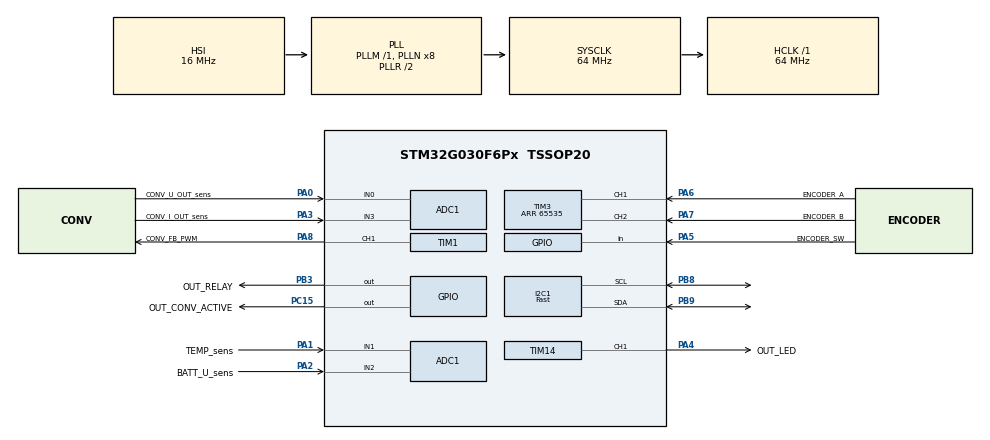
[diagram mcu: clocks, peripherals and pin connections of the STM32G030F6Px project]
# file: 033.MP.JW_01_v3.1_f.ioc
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ADC1.Channel-0\#ChannelRegularConversion=ADC_CHANNEL_0
ADC1.Channel-1\#ChannelRegularConversion=ADC_CHANNEL_1
ADC1.Channel-2\#ChannelRegularConversion=ADC_CHANNEL_2
ADC1.Channel-3\#ChannelRegularConversion=ADC_CHANNEL_3
ADC1.ClockPrescaler=ADC_CLOCK_SYNC_PCLK_DIV2
ADC1.ContinuousConvMode=DISABLE
ADC1.DMAContinuousRequests=DISABLE
ADC1.EOCSelection=ADC_EOC_SEQ_CONV
ADC1.NbrOfConversion=4
ADC1.NbrOfConversionFlag=1
ADC1.Overrun=ADC_OVR_DATA_PRESERVED
ADC1.OversamplingMode=ENABLE
ADC1.Rank-0\#ChannelRegularConversion=1
ADC1.Rank-1\#ChannelRegularConversion=2
ADC1.Rank-2\#ChannelRegularConversion=3
ADC1.Rank-3\#ChannelRegularConversion=4
ADC1.Ratio=ADC_OVERSAMPLING_RATIO_256
ADC1.RightBitShift=ADC_RIGHTBITSHIFT_8
ADC1.SamplingTime-0\#ChannelRegularConversion=ADC_SAMPLINGTIME_COMMON_1
ADC1.SamplingTime-1\#ChannelRegularConversion=ADC_SAMPLINGTIME_COMMON_2
ADC1.SamplingTime-2\#ChannelRegularConversion=ADC_SAMPLINGTIME_COMMON_2
ADC1.SamplingTime-3\#ChannelRegularConversion=ADC_SAMPLINGTIME_COMMON_1
ADC1.SamplingTimeCommon1=ADC_SAMPLETIME_19CYCLES_5
ADC1.SamplingTimeCommon2=ADC_SAMPLETIME_19CYCLES_5
ADC1.SelectedChannel=ADC_CHANNEL_0|ADC_CHANNEL_1|ADC_CHANNEL_2|ADC_CHANNEL_3
ADC1.TriggerFrequencyMode=ADC_TRIGGER_FREQ_LOW
ADC1.TriggeredMode=ADC_TRIGGEREDMODE_SINGLE_TRIGGER
ADC1.master=1
Dma.ADC1.0.Direction=DMA_PERIPH_TO_MEMORY
Dma.ADC1.0.EventEnable=DISABLE
Dma.ADC1.0.Instance=DMA1_Channel1
Dma.ADC1.0.MemDataAlignment=DMA_MDATAALIGN_HALFWORD
Dma.ADC1.0.MemInc=DMA_MINC_ENABLE
Dma.ADC1.0.Mode=DMA_NORMAL
Dma.ADC1.0.PeriphDataAlignment=DMA_PDATAALIGN_HALFWORD
Dma.ADC1.0.PeriphInc=DMA_PINC_DISABLE
Dma.ADC1.0.Polarity=HAL_DMAMUX_REQ_GEN_RISING
Dma.ADC1.0.Priority=DMA_PRIORITY_MEDIUM
Dma.ADC1.0.RequestNumber=1
Dma.ADC1.0.SignalID=NONE
Dma.ADC1.0.SyncEnable=DISABLE
Dma.ADC1.0.SyncPolarity=HAL_DMAMUX_SYNC_NO_EVENT
Dma.ADC1.0.SyncRequestNumber=1
Dma.ADC1.0.SyncSignalID=NONE
Dma.Request0=ADC1
I2C1.CustomTiming=Disabled
I2C1.I2C_Speed_Mode=I2C_Fast
I2C1.Timing=0x00C12166
Mcu.Family=STM32G0
Mcu.Name=STM32G030F6Px
Mcu.Package=TSSOP20
NVIC.DMA1_Channel1_IRQn=true\:0\:0\:false\:false\:true\:false\:true\:true
NVIC.TIM3_IRQn=true\:0\:0\:false\:false\:true\:true\:true\:true
PA0.GPIO_Label=CONV_U_OUT_sens
PA0.Mode=IN0
PA0.Signal=ADC1_IN0
PA1.GPIO_Label=TEMP_sens
PA1.Mode=IN1
PA1.Signal=ADC1_IN1
PA14-BOOT0__PA15.StandardMode=true
PA2.GPIO_Label=BATT_U_sens
PA2.Mode=IN2
PA2.Signal=ADC1_IN2
PA3.GPIO_Label=CONV_I_OUT_sens
PA3.Mode=IN3
PA3.Signal=ADC1_IN3
PA4.GPIO_Label=OUT_LED
PA4.GPIO_PuPd=GPIO_PULLDOWN
PA4.GPIO_Speed=GPIO_SPEED_FREQ_VERY_HIGH
PA4.Signal=S_TIM14_CH1
PA5.GPIO_Label=ENCODER_SW
PA5.GPIO_PuPd=GPIO_PULLUP
PA5.Signal=GPIO_Input
PA6.GPIO_Label=ENCODER_A
PA6.GPIO_PuPd=GPIO_PULLUP
PA6.Signal=S_TIM3_CH1
PA7.GPIO_Label=ENCODER_B
PA7.GPIO_PuPd=GPIO_PULLUP
PA7.Signal=S_TIM3_CH2
PA8.GPIO_Label=CONV_FB_PWM
PA8.GPIO_PuPd=GPIO_PULLUP
PA8.Signal=S_TIM1_CH1
PB0__PB1__PB2__PA8.StandardMode=true
PB3.GPIO_Label=OUT_RELAY
PB3.GPIO_PuPd=GPIO_PULLDOWN
PB3.Signal=GPIO_Output
PB3__PB4__PB5__PB6.StandardMode=true
PB7__PB8.StandardMode=true
PB8.GPIO_Pu=GPIO_NOPULL
PB8.Mode=I2C
PB8.Signal=I2C1_SCL
PB9.GPIO_Pu=GPIO_NOPULL
PB9.Mode=I2C
PB9.Signal=I2C1_SDA
PC14-OSC32_IN\ (PC14)__PB9.StandardMode=true
PC15-OSC32_OUT\ (PC15).GPIO_Label=OUT_CONV_ACTIVE
PC15-OSC32_OUT\ (PC15).GPIO_PuPd=GPIO_PULLDOWN
PC15-OSC32_OUT\ (PC15).Signal=GPIO_Output
ProjectManager.HeapSize=0x200
ProjectManager.StackSize=0x400
ProjectManager.TargetToolchain=STM32CubeIDE
RCC.ADCCLockSelection=RCC_ADCCLKSOURCE_PLLADC
RCC.ADCFreq_Value=16000000
RCC.AHBFreq_Value=64000000
RCC.CortexFreq_Value=64000000
RCC.EXTERNAL_CLOCK_VALUE=12288000
RCC.HCLKFreq_Value=64000000
RCC.HSE_VALUE=8000000
RCC.HSI_VALUE=16000000
RCC.LSE_VALUE=32768
RCC.PLLP=RCC_PLLP_DIV8
RCC.SYSCLKFreq_VALUE=64000000
RCC.SYSCLKSource=RCC_SYSCLKSOURCE_PLLCLK
RCC.VCOOutputFreq_Value=128000000
SH.S_TIM14_CH1.0=TIM14_CH1,PWM Generation1 CH1
SH.S_TIM1_CH1.0=TIM1_CH1,PWM Generation1 CH1
SH.S_TIM3_CH1.0=TIM3_CH1,Encoder_Interface
SH.S_TIM3_CH2.0=TIM3_CH2,Encoder_Interface
TIM1.AutoReloadPreload=TIM_AUTORELOAD_PRELOAD_ENABLE
TIM1.Channel-PWM\ Generation1\ CH1=TIM_CHANNEL_1
TIM1.Period=1999
TIM14.AutoReloadPreload=TIM_AUTORELOAD_PRELOAD_ENABLE
TIM14.Channel=TIM_CHANNEL_1
TIM14.ClockDivision=TIM_CLOCKDIVISION_DIV1
TIM14.Period=1999
TIM14.Prescaler=0
TIM3.EncoderMode=TIM_ENCODERMODE_TI1
TIM3.IC1Filter=15
TIM3.IC1Polarity=TIM_ICPOLARITY_FALLING
TIM3.IC2Filter=15
TIM3.IC2Polarity=TIM_ICPOLARITY_FALLING
TIM3.Period=65535
VP_TIM14_VS_ClockSourceINT.Mode=Enable_Timer
VP_TIM1_VS_ClockSourceINT.Mode=Internal
board=custom

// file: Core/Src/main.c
/* USER CODE BEGIN Header */
/**
 ******************************************************************************
 * @file           : main.c
 * @brief          : Main program body
 ******************************************************************************
 * @attention
 *
 * Copyright (c) 2024 STMicroelectronics.
 * All rights reserved.
 *
 * This software is licensed under terms that can be found in the LICENSE file
 * in the root directory of this software component.
 * If no LICENSE file comes with this software, it is provided AS-IS.
 *
 ******************************************************************************
 */
/* USER CODE END Header */
#include "main.h"
#include "adc.h"
#include "dma.h"
#include "i2c.h"
#include "tim.h"
#include "gpio.h"

/* USER CODE BEGIN Includes */
//#include "Anglas_INA226.h"
#include "fonts.h"
#include "ssd1306.h"
#include "ftoa.h"
#include "stdlib.h"
#include "math.h"
#include "stdio.h"

/* USER CODE END Includes */

/* USER CODE BEGIN PD */
#define mes_size 4	//adc buffer
#define conv_pwm_arr 2000	//max pwm value
#define soldering_error_value 0	//PTC error value

//variable to control
uint8_t screen_indicator = 0;
uint8_t main_screen = 0;
uint8_t main_screen_old = 0;
int16_t encoder_rot = -1; //variable to use encoder
int16_t encoder_rot_prev = 0; //variable to use encoder

//solder station
uint16_t set_temp = 365;
uint16_t mes_temp = 0;

//converter
int16_t pwm = 0;	//pwm
float set_voltage = 5.0f;	//in V
int16_t set_current = 1000;	//in mA
float mes_voltage = 0.0f;	//in V
int16_t mes_current = 0;	//in mA
int16_t mes_power =0;	//in W

//adc
volatile uint8_t adc_ready =0;	//interupt adc flag
float batt_voltage = 0.0f;	//batt voltage value
uint8_t mode_CC =0;	//CC mode flag
uint16_t adc_raw_value[mes_size]; //raw ADC
uint8_t work_mode =0;	// work mode flag

/* USER CODE END PD */

/* USER CODE BEGIN PV */
//map int
long map(long x, long in_min, long in_max, long out_min, long out_max)
    {
    /*
     * map function or linear transformation
     * x - value to scale
     * in_min - min input value to be scaled
     * in_max - max input value to be scaled
     * out_min - min output value after scaled
     * out_max - max output value after scaled
     */
    return (x - in_min) * (out_max - out_min) / (in_max - in_min) + out_min;
    }
//map float
float map_f(float x, float in_min, float in_max, float out_min, float out_max)
    {
    /*
     *  map function or linear transformation
     * x - value to scale
     * in_min - min input value to be scaled
     * in_max - max input value to be scaled
     * out_min - min output value after scaled
     * out_max - max output value after scaled
     */
    return (x - in_min) * (out_max - out_min) / (in_max - in_min) + out_min;
    }

//constrain int
int64_t constrain(int64_t x, int64_t a, int64_t b)
    {
    /*
     * function to limit the input values
     * x - input value
     * a - lowest value of the range
     * b - highest value of the range
     */

    if (x < a)
	{
	return a;
	}
    else if (x > b)
	{
	return b;
	}
    else
	return x;
    }

//constrain float
float constrain_f(float x, float a, float b)
    {
    /*
     * function to limit the input values
     * x - input value
     * a - lowest value of the range
     * b - highest value of the range
     */

    if (x < a)
	{
	return a;
	}
    else if (x > b)
	{
	return b;
	}
    else
	return x;
    }

//function to scrolling values int
int32_t scroll_value(int64_t input, int64_t min, int64_t max)
    {
    /*
     * function to scrolling the input values
     * input - input value
     * min - lowest value of the range
     * max - highest value of the range
     */

    if (input > max)
	{
	input = min;
	}
    else if (input < min)
	{
	input = max;
	}
    else
	{

	}
    return input;
    }

//function to scrolling values float
float scroll_value_f(float input, float min, float max)
    {
    /*
     * function to scrolling the input values
     * input - input value
     * min - lowest value of the range
     * max - highest value of the range
     */

    if (input > max)
	{
	input = min;
	}
    else if (input < min)
	{
	input = max;
	}
    else
	{

	}
    return input;
    }

//randomize a number from the range
int64_t random_number(int64_t min_rand, int64_t max_rand)
    {
    /*
     * function to randomize a number from the range
     * min_rand - lowest value of the range
     * max_rand - highest value of the range
     */

    int32_t tmp;
    if (max_rand >= min_rand)
	{
	max_rand -= min_rand;
	}
    else
	{
	tmp = min_rand - max_rand;
	min_rand = max_rand;
	max_rand = tmp;
	}
    return max_rand ? (rand() % max_rand + min_rand) : min_rand;
    }

// ADC calculation
void adc_read(void) {

	float U_reff = 3.3f; // ADC reference voltage
	uint16_t adc_read_value[mes_size]; // raw ADC readings
	float adc_ready_value[mes_size];   // converted ADC readings to voltage

	uint16_t T_solder = 0; // soldering temperature
	float R_1 = 465.0f;    // resistor value for voltage divider
	float R_PTC = 0.0f;    // PTC resistor value

	// --- FILTERING PARAMETERS ---
	// Increase alpha_* → faster response, less smoothing.
	// Decrease alpha_* → slower response, more stable value.
	// Adjust max_delta_* to match expected system dynamics.
	static float U_conv_filtered = 0.0f;  // filtered converter voltage
//	static float I_conv_filtered = 0.0f; // filtered converter current (disabled)
	const float alpha_U = 0.8f;           // smoothing factor for voltage
//	const float alpha_I = 0.75f;         // smoothing factor for current
	const float max_delta_U = 2.5f;       // max voltage change per sample (V)
//	const float max_delta_I = 100.0f;    // max current change per sample (mA)

	// --- RAW DATA CONVERSION ---
	for (uint8_t i = 0; i < mes_size; i++) {
		adc_read_value[i] = adc_raw_value[i]; // get raw ADC value
		adc_ready_value[i] = (U_reff / 4095.0f) * adc_read_value[i]; // convert ADC value to voltage
	}

	// --- CONVERTER OUTPUT VOLTAGE ---
	float U_conv_raw = adc_ready_value[0] * 11.0f; // raw converter voltage before filtering
	float deltaU = U_conv_raw - U_conv_filtered;   // voltage difference

	// outlier clipping (reject extreme changes)
	if (deltaU > max_delta_U) deltaU = max_delta_U;
	if (deltaU < -max_delta_U) deltaU = -max_delta_U;

	// IIR filter for voltage
	U_conv_filtered += alpha_U * deltaU;
	mes_voltage = U_conv_filtered;
//	mes_voltage = U_conv_raw; // unfiltered version
	mes_voltage = (-0.0003f * mes_voltage * mes_voltage) + (0.9804f * mes_voltage) + 0.0255f; // calibration correction

	// --- PTC TEMPERATURE MEASUREMENT ---
	if (adc_ready_value[1] < 3.2f) {
		R_PTC = -((R_1 * adc_ready_value[1]) / (adc_ready_value[1] - U_reff)); // calculate PTC resistance
		T_solder = (uint16_t) map_f(R_PTC, 50.8f, 110.0f, 22.0f, 400.0f);      // map resistance to temperature
		T_solder = T_solder * 0.50f;                                           // scaling adjustment
	} else {
		T_solder = soldering_error_value; // error value when voltage is too high
	}
	mes_temp = (int16_t)T_solder; // store measured temperature

	// --- BATTERY VOLTAGE ---
	batt_voltage = (adc_ready_value[2] * 11.0f) - 0.1f; // battery voltage after scaling and offset
//	soc_batt = (uint8_t) map_f(U_soc_batt, 18.0f, 21.0f, 0.0f, 100.0f); // state of charge (optional)
//	soc_batt = constrain(soc_batt, 0, 100);

	// --- CURRENT MEASUREMENT ---
	#define INA169_RL 10000  // load resistor of INA169
	#define INA169_RS 0.1    // shunt resistor of INA169

	float I_conv_raw = ((adc_ready_value[3] * 1000.0f) / (INA169_RL * INA169_RS)) * 1000.0f; // current [mA]
	I_conv_raw = constrain_f(I_conv_raw, 0.0f, 5000.0f); // limit current range
//	I_conv_out = roundf(I_conv_raw); // optional rounding

//	float deltaI = I_conv_raw - I_conv_filtered; // current delta
//
//	// reject outliers
//	if (deltaI > max_delta_I) deltaI = max_delta_I;
//	if (deltaI < -max_delta_I) deltaI = -max_delta_I;
//
//	// IIR filter for current
//	I_conv_filtered += alpha_I * deltaI;
//	mes_current = (int16_t)I_conv_filtered; // filtered current
	mes_current = (int16_t)I_conv_raw; // unfiltered current

	// protection against false readings
	if((work_mode == 0) && (mes_current <= 100))
	{
		mes_current = 0;
	}

	// --- POWER CALCULATION ---
	mes_power =  (int16_t)((mes_current / 1000.0f) * mes_voltage); // power = current * voltage
}

//function to scrolling values from encoder to int
int32_t encoder_managment(int32_t input, int32_t min, int32_t max, int32_t step,
	uint8_t mode)
    {
    /*
     * function scroll values from encoder on the screen depending on the specified parameters
     * input - value to scroll
     * min - min scroll value
     * max - max scroll value
     * step - step to scroll
     * mode - if 1 is set the maximum value is not scrolled to the minimum value , if 0 after passing the maximum value returns the minimum value
     */

    encoder_rot = ( __HAL_TIM_GET_COUNTER(&htim3) >> 1); //encoder counter

    if (encoder_rot_prev > encoder_rot)
	{
	input = input - step;
	encoder_rot_prev = encoder_rot;
	}
    else if (encoder_rot_prev < encoder_rot)
	{
	input = input + step;
	encoder_rot_prev = encoder_rot;
	}
    else
	{

	}

    if (mode == 1)
	{
	input = constrain(input, min, max);
	}
    else
	{
	input = scroll_value(input, min, max);
	}

    return input;
    }

//function to scrolling values from encoder to float
float encoder_managment_f(float input, float min, float max, float step,
	uint8_t mode)
    {
    /*
     * function scroll values from encoder on the screen depending on the specified parameters
     * input - value to scroll
     * min - min scroll value
     * max - max scroll value
     * step - step to scroll
     * mode - if 1 is set the maximum value is not scrolled to the minimum value , if 0 after passing the maximum value returns the minimum value
     */

    encoder_rot = ( __HAL_TIM_GET_COUNTER(&htim3) >> 1); //encoder counter

    if (encoder_rot_prev > encoder_rot)
	{
	input = input - step;
	encoder_rot_prev = encoder_rot;
	}
    else if (encoder_rot_prev < encoder_rot)
	{
	input = input + step;
	encoder_rot_prev = encoder_rot;
	}
    else
	{

	}

    if (mode == 1)
	{
	input = constrain_f(input, min, max);
	}
    else
	{
	input = scroll_value_f(input, min, max);
	}

    return input;
    }

//converter screen
void oled_converter(void)
    {

    char screen_text_buff[5];
    uint8_t high_init = 0;
    uint8_t high = high_init;
    uint8_t data_step = 10;
    uint8_t on_off_sw = 0;
    uint8_t u_set_sw = 0;
    uint8_t i_set_sw = 0;

    SSD1306_GotoXY(1, high);

	if(main_screen == 1)
	{
	SSD1306_Puts("-CONV PID- ", &Font_7x10, 1);
	}
	else
	{
	SSD1306_Puts("-CONV TAB- ", &Font_7x10, 1);
	}

    if (screen_indicator == 0)
	{
	on_off_sw = 0;
	u_set_sw = 1;
	i_set_sw = 1;
	}
    else if (screen_indicator == 1)
	{
	on_off_sw = 1;
	u_set_sw = 0;
	i_set_sw = 1;
	}
    else
	{
	on_off_sw = 1;
	u_set_sw = 1;
	i_set_sw = 0;
	}

    if (work_mode == 1)
	{
    SSD1306_Puts("ON ", &Font_7x10, on_off_sw);
	}
    else
	{
	SSD1306_Puts("OFF", &Font_7x10, on_off_sw);
	}

    high = high + data_step;
    SSD1306_GotoXY(1, high);
    SSD1306_Puts("U Set [V]: ", &Font_7x10, u_set_sw);
    ftoa(screen_text_buff, set_voltage, 1);
    SSD1306_Puts(screen_text_buff, &Font_7x10, 1);
    SSD1306_Puts("  ", &Font_7x10, 1);

    high = high + data_step;
    SSD1306_GotoXY(1, high);
    SSD1306_Puts("I Set [mA]: ", &Font_7x10, i_set_sw);
    itoa(set_current, screen_text_buff, 10);
    SSD1306_Puts(screen_text_buff, &Font_7x10, 1);
    SSD1306_Puts("  ", &Font_7x10, 1);

    high = high + data_step;
    SSD1306_GotoXY(1, high);
    SSD1306_Puts("U Mes [V]: ", &Font_7x10, 1);
    ftoa(screen_text_buff, mes_voltage, 1);
    SSD1306_Puts(screen_text_buff, &Font_7x10, 1);
    SSD1306_Puts("  ", &Font_7x10, 1);

    high = high + data_step;
    SSD1306_GotoXY(1, high);
    SSD1306_Puts("I Mes [mA]: ", &Font_7x10, 1);
    itoa(mes_current, screen_text_buff, 10);
    SSD1306_Puts(screen_text_buff, &Font_7x10, 1);
    SSD1306_Puts("     ", &Font_7x10, 1);

    //battery level
    high = high + data_step;
    SSD1306_GotoXY(1, high);
    SSD1306_Puts("BATT [V]: ", &Font_7x10, 1);
    ftoa(screen_text_buff, batt_voltage, 1);
    SSD1306_Puts(screen_text_buff, &Font_7x10, 1);
    SSD1306_Puts("    ", &Font_7x10, 1);

    SSD1306_GotoXY(105, high);
    //wyswietlanie trybu dzialania
    if(mode_CC == 1)
    {
    	SSD1306_Puts("|CC", &Font_7x10, 1);
    }
    else
    {
    	SSD1306_Puts("|CV", &Font_7x10, 1);
    }

    //show data
    SSD1306_UpdateScreen();
    }

// solder station screen
void oled_solder_station(void)
    {

    //data to set cursor
    char screen_text_buff[5];
    uint8_t high_init = 0;
    uint8_t high = high_init;
    uint8_t data_step = 10;
    uint8_t on_off_sw = 0;
    uint8_t t_set_sw = 0;

    if (screen_indicator == 0)
	{
	on_off_sw = 0;
	t_set_sw = 1;
	}
    else
	{
	on_off_sw = 1;
	t_set_sw = 0;
	}

    //show title
    SSD1306_GotoXY(1, high);
    SSD1306_Puts("-SOLDER- ", &Font_7x10, 1);

    if ((work_mode == 1) && (mes_temp != soldering_error_value))
	{
	SSD1306_Puts("ON ", &Font_7x10, on_off_sw);
	}
    else if ((work_mode == 0) && (mes_temp != 0.0f))
	{
	SSD1306_Puts("OFF", &Font_7x10, on_off_sw);
	}
    else
	{
	SSD1306_Puts("ERR", &Font_7x10, on_off_sw);
	}

    high = high + data_step;
    SSD1306_GotoXY(1, high);
    SSD1306_Puts("Temp Set[C]: ", &Font_7x10, t_set_sw);
    itoa(set_temp, screen_text_buff, 10);
    SSD1306_Puts(screen_text_buff, &Font_7x10, 1);
    SSD1306_Puts("  ", &Font_7x10, 1);

    high = high + data_step;
    SSD1306_GotoXY(1, high);
    SSD1306_Puts("Temp Mes[C]: ", &Font_7x10, 1);
    itoa(mes_temp, screen_text_buff, 10);
    SSD1306_Puts(screen_text_buff, &Font_7x10, 1);
    SSD1306_Puts("  ", &Font_7x10, 1);

    //solder power
    high = high + data_step;
    SSD1306_GotoXY(1, high);
    SSD1306_Puts("POW [W]: ", &Font_7x10, 1);
    itoa(mes_power, screen_text_buff, 10);
    SSD1306_Puts(screen_text_buff, &Font_7x10, 1);
    SSD1306_Puts("  ", &Font_7x10, 1);

    //battery level
    high = high + data_step;
    SSD1306_GotoXY(1, high);
    SSD1306_Puts("BATT [V]: ", &Font_7x10, 1);
    ftoa(screen_text_buff, batt_voltage, 1);
    SSD1306_Puts(screen_text_buff, &Font_7x10, 1);
    SSD1306_Puts("  ", &Font_7x10, 1);

    //show data
    SSD1306_UpdateScreen();
    }

//welcome screen
void oled_hello(void)
    {
    //show start screen
    SSD1306_Clear();
    HAL_Delay(10);
    SSD1306_GotoXY(10, 10);
    SSD1306_Puts("INIT OK", &Font_7x10, 1);
    SSD1306_UpdateScreen();
    HAL_Delay(200);
    SSD1306_Clear();
    }

//debug screen
void oled_debug(uint8_t x, uint8_t y, char name[], int32_t data,
	uint32_t time)
    {
    char label[6];
    SSD1306_Clear();
    SSD1306_GotoXY(x, y);
    SSD1306_Puts(name, &Font_7x10, 1);
    SSD1306_Puts(" ", &Font_7x10, 1);
    itoa(data, label, 10);
    SSD1306_Puts(label, &Font_7x10, 1);
    SSD1306_Puts(" ", &Font_7x10, 1);
    SSD1306_UpdateScreen();
    HAL_Delay(time);
    SSD1306_Clear();
    }

//switch manage
void switch_manage (void)
    {
	const uint16_t switch_time[] =
	    {
	    100, 800
	    };

	static uint32_t sw_encoder_last_time = 0;
	uint32_t current_time = HAL_GetTick();

    if (HAL_GPIO_ReadPin(ENCODER_SW_GPIO_Port, ENCODER_SW_Pin)
	    == GPIO_PIN_RESET)
	{

	}
    else
	{
	if ((current_time - sw_encoder_last_time) >= switch_time[1])
	    {
	    main_screen++;
	    }
	else if (((current_time - sw_encoder_last_time) > switch_time[0])
		&& ((current_time - sw_encoder_last_time) < switch_time[1]))
	    {
	    screen_indicator++;
	    }
	else
	    {

	    }
	sw_encoder_last_time = current_time;
	}
    }

// screen manage
void screen_manage (void)
    {
    //change screen if PTC is unconnecteed
    if(mes_temp== soldering_error_value)
	{
	if (main_screen == 0)
	    {
	    main_screen = 1;
	    work_mode = 0;
	    }
	}

    if (main_screen == 0)	//solder station
	{
	if (screen_indicator == 1)
	    {
	    set_temp = encoder_managment(set_temp, 30, 500, 5, 1);
	    }
	else if (screen_indicator == 0)
	    {
	    work_mode = encoder_managment(work_mode, 0, 1, 1, 1);
	    }
	else
	    {
	    screen_indicator = 0;
	    }
	}
    else if ((main_screen == 1)|| (main_screen == 2))	//converter
	{
	if (screen_indicator == 1)
	    {
	    set_voltage = encoder_managment_f(set_voltage, 0.0f, 32.0f, 0.1f,
		    1);
	    }
	else if (screen_indicator == 2)
	    {
	    set_current = encoder_managment(set_current, 0, 3000, 50 , 1);
	    }
	else if (screen_indicator == 0)
	    {
	    work_mode = encoder_managment(work_mode, 0, 1, 1, 1);
	    }
	else
	    {
	    screen_indicator = 0;
	    }
	}
    else	//reset state
	{
	main_screen = 0;
	work_mode = 0;
	screen_indicator = 0;
	}

    //variable for time update the screen
    uint32_t current_time = HAL_GetTick();
    static uint32_t last_oled_time = 0;
    const uint16_t oled_interval = 400;

    //oled update
	if (current_time - last_oled_time > oled_interval)
	    {

	    if ((main_screen == 1)|| (main_screen == 2))
		{
		oled_converter();
		}
	    else if (main_screen == 0)
		{
		oled_solder_station();
		}

	    //czyszczenie ekranu
	    if (main_screen != main_screen_old)
		{
		SSD1306_Clear();
		main_screen_old = main_screen;
		}

	    last_oled_time = current_time;
	    }
    }

//check CC CV mode
uint8_t update_CC_mode(void)
{
    static uint8_t CC_mode = 0;                 // 0 = CV mode, 1 = CC mode
    static uint32_t state_change_timer = 0;     // time when transition counting started
    static uint8_t desired_CC_mode = 0;         // target mode (based on measurement)
    uint32_t current_time = HAL_GetTick();

	#define currest_hist 1
	#define time_CC 50
	#define time_CV 5

    // --- determine which mode we want to have ---
    if (mes_current > set_current)
    {
        desired_CC_mode = 1;   // current exceeded
    }
    else if (mes_current < (set_current - currest_hist))
    {
        desired_CC_mode = 0;   // current dropped by 100 mA
    }
    else
    {
        // dead zone — do not change anything
        return CC_mode;
    }

    // --- if the desired mode differs from the current one ---
    if (desired_CC_mode != CC_mode)
    {
        // start timing if not already running
        if (state_change_timer == 0)
        {
            state_change_timer = current_time;
        }
        else
        {
            uint32_t elapsed = current_time - state_change_timer;

            // logic depending on the direction of change
            if (desired_CC_mode == 1 && elapsed >= time_CC)
            {
                // switch to CC after 0.5 s
                CC_mode = 1;
                state_change_timer = 0;
            }
            else if (desired_CC_mode == 0 && elapsed >= time_CV)
            {
                // return to CV after 3 s
                CC_mode = 0;
                state_change_timer = 0;
            }
        }
    }
    else
    {
        // stable state — reset timer
        state_change_timer = 0;
    }

    return CC_mode;
}

//correction values to r divider
#define N 13
const float PWM_table[N]  = {443, 562, 687, 812, 937, 1062, 1187, 1312, 1437, 1562, 1687, 1812, 1937};
const float Umes_table[N] = {0.42, 0.52, 1.69, 4.33, 7.75, 12.72, 17.77, 21.26, 23.96, 25.99, 27.72, 29.07, 30.32};

// correction function for pwm and voltage output from converter
double getPWM(double targetU) {
    if(targetU <= Umes_table[0]) return PWM_table[0];
    if(targetU >= Umes_table[N-1]) return PWM_table[N-1];

    for(int i = 0; i < N-1; i++) {
        if(targetU >= Umes_table[i] && targetU <= Umes_table[i+1]) {
            double slope = (PWM_table[i+1] - PWM_table[i]) / (Umes_table[i+1] - Umes_table[i]);
            return PWM_table[i] + slope * (targetU - Umes_table[i]);
        }
    }

    return PWM_table[N-1];
}

//loop for converter and soldering station
void work_task(void)
    {
    //work loop
      if (work_mode == 0)	//off mode
		{
		HAL_GPIO_WritePin(OUT_RELAY_GPIO_Port, OUT_RELAY_Pin, RESET);
		HAL_GPIO_WritePin(OUT_CONV_ACTIVE_GPIO_Port, OUT_CONV_ACTIVE_Pin, RESET);
		pwm = 0;
		}
      else	//work mode
  	{
		if ((main_screen == 0) && (mes_temp != soldering_error_value)) // solder station
			{
				HAL_GPIO_WritePin(OUT_RELAY_GPIO_Port, OUT_RELAY_Pin, RESET);
				HAL_GPIO_WritePin(OUT_CONV_ACTIVE_GPIO_Port, OUT_CONV_ACTIVE_Pin,
						SET);

				// --- Parametry PID ---T
				float Kp_temp = 10.0;
				float Ki_temp = 2.7;
				float Kd_temp = 0.8;

				//previous data
				static float last_p_temp_error = 0;
				static float i_temp_error = 0;
				static float d_temp_error = 0;

				//const value
				#define I_temp_error_max 700
				#define Boost_temp_diff_value 150
				#define Boost_pwm_value 1850
				#define Slow_work_diff_temp_value 2
				#define Slow_work_factor 0.98

				//compute PID
				float p_temp_error = set_temp - mes_temp;//accual error

				if ((p_temp_error < Boost_temp_diff_value)
						&& (abs(p_temp_error) >= Slow_work_diff_temp_value))//pid
						{

					i_temp_error = i_temp_error + p_temp_error;	//integral
					i_temp_error = constrain_f(i_temp_error, -I_temp_error_max,
					I_temp_error_max);	//anty windup

					d_temp_error = p_temp_error - last_p_temp_error;

					last_p_temp_error = p_temp_error;	//save previosu error

					float f_pid = (Kp_temp * p_temp_error)
							+ (Ki_temp * i_temp_error) + (Kd_temp * d_temp_error);

					pwm = (int16_t) roundf(f_pid);
				}

				else if (p_temp_error >= Boost_temp_diff_value)	//boost
				{
					pwm = Boost_pwm_value;
					i_temp_error = 0.0f; // reset integral
				}

				else	//dont charge settings
				{
					pwm = (int16_t) roundf((float) pwm * Slow_work_factor);
				}

				// --- protection code---
				static uint32_t overcurrent_start_time = 0; // overcurrent time
				#define Overpower_delay 2000
				#define Overpower_current_value 3000
				#define Overpower_voltage_value 20.0f
				#define Overpower_power_value 50
				#define Overpower_decrease_factor 0.5f

				if ((mes_voltage > Overpower_voltage_value)
						|| (mes_power > Overpower_power_value)
						|| (mes_current > Overpower_current_value)) {
					// record the time during overload
					if (overcurrent_start_time == 0) {
						overcurrent_start_time = HAL_GetTick();
					} else {
						// if the overload still occurs, secure the device
						if (HAL_GetTick()
								- overcurrent_start_time>= Overpower_delay) {
							i_temp_error = 0.0f; // reset integral
							pwm =
									pwm
											- (int16_t) roundf(
													(float) pwm
															* Overpower_decrease_factor); // reduce power
						}
					}
				}

				else {
					// if power is ok, reset time
					overcurrent_start_time = 0;
				}
			}

    else if ((main_screen == 1)|| (main_screen == 2)) //converter
	{
	    HAL_GPIO_WritePin(OUT_RELAY_GPIO_Port, OUT_RELAY_Pin, SET);
	    HAL_GPIO_WritePin(OUT_CONV_ACTIVE_GPIO_Port, OUT_CONV_ACTIVE_Pin, SET);

	    static float new_set_voltage =0.0f;
	    static int16_t last_set_current =0;
	    static float last_set_voltage =0.0f;
	    static uint8_t start_clean_cc =0;
	    static float reduce_voltage =0.0f;

		#define VOLTAGE_STEP 0.0001f  //decrease or increase voltage step

		// --- logic for voltage reduction when overcurrent protection is triggered ---
			if ( update_CC_mode() == 1)   // overcurrent detected
			{
				// gradually reduce voltage until current drops below the threshold
				reduce_voltage += VOLTAGE_STEP;
				reduce_voltage = constrain_f(reduce_voltage, 0.0f, set_voltage);
				mode_CC = 1;
				start_clean_cc = 0;
			}
			else	// overcurrent not active
			{
				if((last_set_current!=set_current)|| (last_set_voltage!=set_voltage)) // pulsation occurring
				{
					start_clean_cc = 1;
				}

			    // if the voltage recovery process is in progress
			    if (start_clean_cc == 1 && reduce_voltage > 0.0f)
			    {
			        reduce_voltage -=  VOLTAGE_STEP; // gradual restoration
			        reduce_voltage = constrain_f(reduce_voltage, 0.0f, set_voltage);
			    }

			    // if voltage has been fully restored – end the process
			    if (reduce_voltage <= 0.0f)
			    {
			        reduce_voltage = 0.0f;
			        start_clean_cc = 0;
			        mode_CC = 0;
			    }

			    if(last_set_voltage!=set_voltage)
			    {
			    	mode_CC = 0;
			    }
			}

			new_set_voltage = set_voltage - reduce_voltage;
			last_set_current = set_current;
			last_set_voltage = set_voltage;

			if (main_screen == 1)
			{
				 // --- PID Parameters ---
		      float Kp_voltage = 5.0f;    // reduced for stability
		      const float Ki_voltage = 0.01;    // smaller integral term (slower growth, fewer oscillations)
		      float Kd_voltage = (1.0f*Kp_voltage)/5;   // stronger D term to dampen oscillations

		      // calculate PID parameters
		      float p_voltage_error = new_set_voltage - mes_voltage;	// calculate current error

		      // PID gain correction
		      if(fabs(p_voltage_error)<0.5f)
		      {
		    	  Kp_voltage = 0.1f;
		    	  Kd_voltage = (1.0f*Kp_voltage)/10.0f;
		      }

		      // previous values
		      static float last_p_voltage_error =0;
		      static float  i_voltage_error =0;
		      static float d_voltage_error = 0;

		      // calculate PID terms
		      if(fabs(p_voltage_error)>=0.01f)
			  {
			      i_voltage_error = i_voltage_error + p_voltage_error;	// calculate integral
			      i_voltage_error = constrain_f(i_voltage_error, -10000.0f, 10000.0f);	// limit integral

			      d_voltage_error = p_voltage_error - last_p_voltage_error;

			      last_p_voltage_error = p_voltage_error;	// store previous error

			      float f_pid = (Kp_voltage*p_voltage_error) + (Ki_voltage*i_voltage_error) + (Kd_voltage*d_voltage_error);

			      pwm = (int16_t)roundf(getPWM(new_set_voltage)) + (int16_t)roundf(f_pid);
			  }
			}
			else if (main_screen == 2)
			{

				pwm = (int16_t)roundf(getPWM(new_set_voltage)); 	// preset imitation mode

			}

	}

  }
	//set pwm
	pwm = constrain(pwm, 0, conv_pwm_arr);
	__HAL_TIM_SET_COMPARE(&htim1, TIM_CHANNEL_1, (conv_pwm_arr - pwm));	//ustawienie mocy pwm
	__HAL_TIM_SET_COMPARE(&htim14, TIM_CHANNEL_1, pwm/4);
    }

/* USER CODE END PV */

void SystemClock_Config(void);

int main(void)
{

  /* MCU Configuration--------------------------------------------------------*/

  /* Reset of all peripherals, Initializes the Flash interface and the Systick. */
  HAL_Init();

  /* Configure the system clock */
  SystemClock_Config();

  /* USER CODE BEGIN SysInit */
    HAL_Delay(100);
  /* USER CODE END SysInit */

  /* Initialize all configured peripherals */
  MX_GPIO_Init();
  MX_DMA_Init();
  MX_I2C1_Init();
  MX_TIM3_Init();
  MX_TIM14_Init();
  MX_ADC1_Init();
  MX_TIM1_Init();
  /* USER CODE BEGIN 2 */
    HAL_GPIO_WritePin(OUT_CONV_ACTIVE_GPIO_Port, OUT_CONV_ACTIVE_Pin, RESET);
    HAL_ADCEx_Calibration_Start(&hadc1);
    HAL_Delay(100);

    SSD1306_Init();
    //others modules

    //init
    HAL_TIM_Encoder_Start(&htim3, TIM_CHANNEL_ALL);	//encoder
    HAL_TIM_PWM_Start(&htim14, TIM_CHANNEL_1);	//led
    HAL_TIM_PWM_Start(&htim1, TIM_CHANNEL_1);	//converter
    HAL_ADC_Start_DMA(&hadc1, (uint32_t*)adc_raw_value, mes_size);

    oled_hello();

  /* USER CODE END 2 */

  /* Infinite loop */
  /* USER CODE BEGIN WHILE */
    while (1)
	{
    	//compute adc if is ready
    	if(adc_ready == 1)
    	{
    		adc_read();
			adc_ready = 0;
			HAL_ADC_Start_DMA(&hadc1, (uint32_t*)adc_raw_value, mes_size);
    	}

	switch_manage();
	screen_manage();

	work_task();

    /* USER CODE END WHILE */

	}
}

void SystemClock_Config(void)
{
  RCC_OscInitTypeDef RCC_OscInitStruct = {0};
  RCC_ClkInitTypeDef RCC_ClkInitStruct = {0};

  /** Configure the main internal regulator output voltage
  */
  HAL_PWREx_ControlVoltageScaling(PWR_REGULATOR_VOLTAGE_SCALE1);

  /** Initializes the RCC Oscillators according to the specified parameters
  * in the RCC_OscInitTypeDef structure.
  */
  RCC_OscInitStruct.OscillatorType = RCC_OSCILLATORTYPE_HSI;
  RCC_OscInitStruct.HSIState = RCC_HSI_ON;
  RCC_OscInitStruct.HSIDiv = RCC_HSI_DIV1;
  RCC_OscInitStruct.HSICalibrationValue = RCC_HSICALIBRATION_DEFAULT;
  RCC_OscInitStruct.PLL.PLLState = RCC_PLL_ON;
  RCC_OscInitStruct.PLL.PLLSource = RCC_PLLSOURCE_HSI;
  RCC_OscInitStruct.PLL.PLLM = RCC_PLLM_DIV1;
  RCC_OscInitStruct.PLL.PLLN = 8;
  RCC_OscInitStruct.PLL.PLLP = RCC_PLLP_DIV8;
  RCC_OscInitStruct.PLL.PLLR = RCC_PLLR_DIV2;
  if (HAL_RCC_OscConfig(&RCC_OscInitStruct) != HAL_OK)
  {
    Error_Handler();
  }

  /** Initializes the CPU, AHB and APB buses clocks
  */
  RCC_ClkInitStruct.ClockType = RCC_CLOCKTYPE_HCLK|RCC_CLOCKTYPE_SYSCLK
                              |RCC_CLOCKTYPE_PCLK1;
  RCC_ClkInitStruct.SYSCLKSource = RCC_SYSCLKSOURCE_PLLCLK;
  RCC_ClkInitStruct.AHBCLKDivider = RCC_SYSCLK_DIV1;
  RCC_ClkInitStruct.APB1CLKDivider = RCC_HCLK_DIV1;

  if (HAL_RCC_ClockConfig(&RCC_ClkInitStruct, FLASH_LATENCY_2) != HAL_OK)
  {
    Error_Handler();
  }
}

/* USER CODE BEGIN 4 */
//adc interupt (conversion is done)
void HAL_ADC_ConvCpltCallback(ADC_HandleTypeDef *hadc)
{
	adc_ready = 1;
}
/* USER CODE END 4 */

void Error_Handler(void)
{
    __disable_irq();
    while (1)
	{
	}
}
